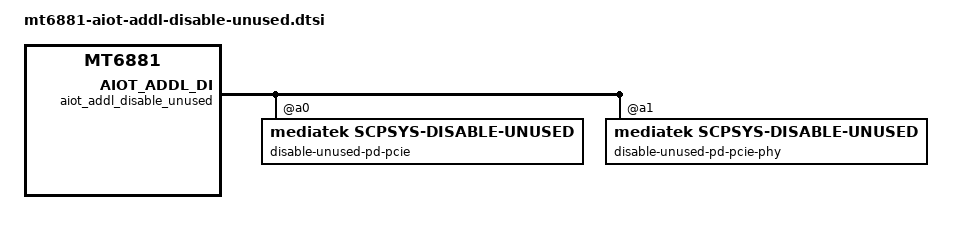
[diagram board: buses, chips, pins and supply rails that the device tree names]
// SPDX-License-Identifier: (GPL-2.0 OR MIT)
/*
 * Copyright (C) 2025 MediaTek Inc.
 * Author: Hulk Lu <hulk.lu@mediatek.com>
 */

#include <dt-bindings/power/mt6881-aiot-ext-power.h>

&aiot_addl_disable_unused {
	status = "okay";

	disable-unused-pd-pcie@a0 {
		compatible = "mediatek,scpsys-disable-unused";
		reg = <0xa0>;
		power-domains = <&scpsys MT6881_POWER_DOMAIN_PCIE>;
	};
	disable-unused-pd-pcie-phy@a1 {
		compatible = "mediatek,scpsys-disable-unused";
		reg = <0xa1>;
		power-domains = <&scpsys MT6881_POWER_DOMAIN_PCIE_PHY>;
	};
};
